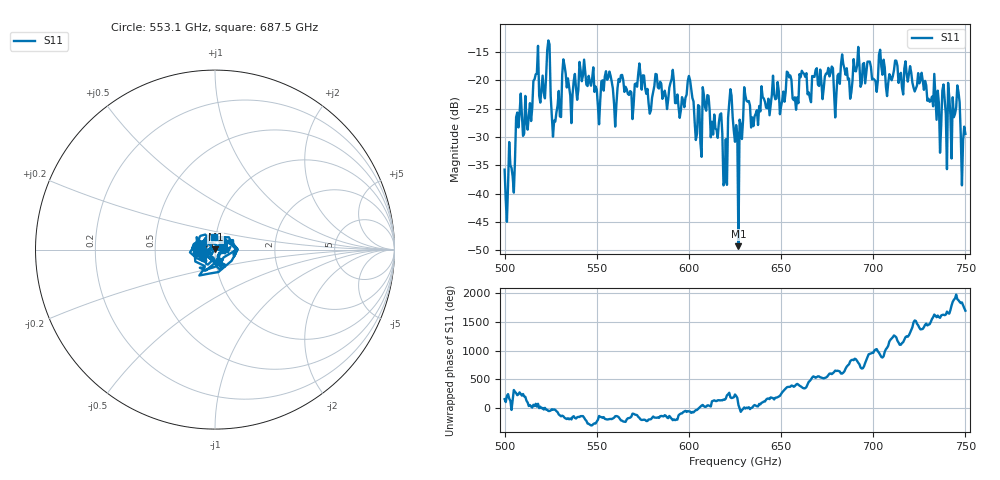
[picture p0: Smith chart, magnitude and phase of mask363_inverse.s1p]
!Created with skrf (http://scikit-rf.org).
# GHz S MA R 50.0
!freq magS11 angS11
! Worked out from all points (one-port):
!   401 points, 500 GHz to 750 GHz, reference 50 ohm
!   lowest |S11| = -49.2 dB at 626.9 GHz (marker M1), VSWR 1.01, Z = 50.2 + j0.268 ohm
!   |S11| at or under -10 dB: start of sweep to end of sweep
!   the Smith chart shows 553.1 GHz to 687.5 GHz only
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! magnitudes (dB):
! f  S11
! 500 GHz  -35.8
! 504.4 GHz  -37.0
! 507.5 GHz  -28.3
! 513.8 GHz  -24.0
! 516.9 GHz  -19.0
! 520.6 GHz  -19.2
! 523.8 GHz  -13.0
! 526.9 GHz  -27.1
! 531.2 GHz  -19.0
! 562.5 GHz  -20.3
! 590.6 GHz  -19.8
! 593.8 GHz  -22.5
! 600.6 GHz  -20.0
! 605.6 GHz  -24.6
! 608.8 GHz  -24.8
! 616.9 GHz  -26.0
! 619.4 GHz  -37.9
! 622.5 GHz  -21.6
! 625 GHz  -30.9
! 626.9 GHz  -49.2
! 631.2 GHz  -23.6
! 635 GHz  -28.1
! 656.2 GHz  -23.2
! 687.5 GHz  -23.3
! 718.8 GHz  -20.3
! 741.2 GHz  -23.0
! 745.6 GHz  -20.9
! 750 GHz  -29.5
